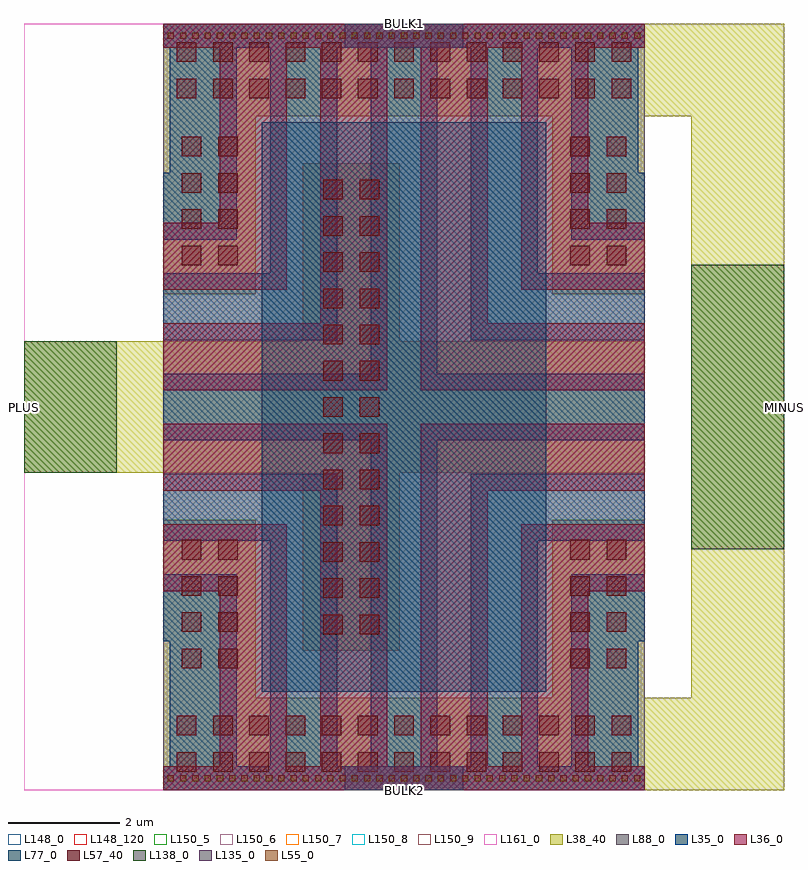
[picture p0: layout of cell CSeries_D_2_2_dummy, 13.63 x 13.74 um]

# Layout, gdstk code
import gdstk
lib = gdstk.Library(unit=1e-6, precision=1e-09)
def R(c, l, rs):  # rectangles x0, y0, x1, y1
    for r in rs: c.add(gdstk.rectangle(r[:2], r[2:], *l))
def A(c, l, x, y, w, h, nx, ny, dx, dy):  # array of equal rectangles
    R(c, l, [(x+i*dx, y+j*dy, x+i*dx+w, y+j*dy+h) for i in range(nx) for j in range(ny)])
def P(c, l, *ps):  # polygons
    for p in ps: c.add(gdstk.Polygon(p, *l))
L35_0 = (35, 0)
L36_0 = (36, 0)
L38_40 = (38, 40)
L55_0 = (55, 0)
L57_40 = (57, 40)
L77_0 = (77, 0)
L88_0 = (88, 0)
L135_0 = (135, 0)
L138_0 = (138, 0)
L148_0 = (148, 0)
L148_120 = (148, 120)
L150_5 = (150, 5)
L150_6 = (150, 6)
L150_7 = (150, 7)
L150_8 = (150, 8)
L150_9 = (150, 9)
L161_0 = (161, 0)

cseries_d_2_2_dummy = lib.new_cell('CSeries_D_2_2_dummy')
R(cseries_d_2_2_dummy, L35_0, [(-1.76,-1.76,6.87,-1.33), (-1.645,-1.76,-0.445,1.51), (0.155,-1.76,1.355,3.31), (1.955,-1.76,3.155,11.98), (3.755,-1.76,4.955,3.31), (5.555,-1.76,6.755,1.51), (-1.76,0.91,-0.445,2.11), (5.555,0.91,6.87,2.11), (-1.76,2.71,1.355,3.91), (3.755,2.71,6.87,3.91), (-1.76,4.51,6.87,5.71), (-1.76,6.31,1.355,7.51), (3.755,6.31,6.87,7.51), (0.155,6.91,1.355,11.98), (3.755,6.91,4.955,11.98), (-1.76,8.11,-0.445,9.31), (5.555,8.11,6.87,9.31), (-1.645,8.71,-0.445,11.98), (5.555,8.71,6.755,11.98), (-1.76,11.55,6.87,11.98)])
R(cseries_d_2_2_dummy, L36_0, [(-1.76,-1.76,6.87,-1.33), (-0.745,-1.76,0.455,2.41), (1.055,-1.76,2.255,4.21), (2.855,-1.76,4.055,4.21), (4.655,-1.76,5.855,2.41), (-1.76,1.81,0.455,3.01), (4.655,1.81,6.87,3.01), (-1.76,3.61,2.255,4.81), (2.855,3.61,6.87,4.81), (-1.76,5.41,2.255,6.61), (2.855,5.41,6.87,6.61), (1.055,6.01,2.255,11.98), (2.855,6.01,4.055,11.98), (-1.76,7.21,0.455,8.41), (4.655,7.21,6.87,8.41), (-0.745,7.81,0.455,11.98), (4.655,7.81,5.855,11.98), (-1.76,11.55,6.87,11.98)])
R(cseries_d_2_2_dummy, L38_40, [(6.87,-1.76,9.37,-0.1), (7.71,-1.76,9.37,11.98), (0.74,0.74,2.48,3.93), (-4.26,3.93,6.87,6.29), (0.74,6.29,2.48,9.48), (0.74,6.29,2.48,9.48), (6.87,10.32,9.37,11.98)])
P(cseries_d_2_2_dummy, L38_40, [(-0.1,10.32),(5.21,10.32),(5.21,7.13),(6.87,7.13),(6.87,11.98),(-1.76,11.98),(-1.76,7.13),(-0.1,7.13)],
  [(-1.76,3.09),(-1.76,-1.76),(6.87,-1.76),(6.87,3.09),(5.21,3.09),(5.21,-0.1),(-0.1,-0.1),(-0.1,3.09)])
A(cseries_d_2_2_dummy, L55_0, -1.68, -1.6, 0.11, 0.11, 39, 2, 0.22, 13.31)
A(cseries_d_2_2_dummy, L57_40, -1.52, -1.43, 0.35, 0.35, 13, 2, 0.65, 0.65)
A(cseries_d_2_2_dummy, L57_40, -1.43, 0.425, 0.35, 0.35, 1, 4, 0, 0.65)
A(cseries_d_2_2_dummy, L57_40, -0.78, 0.425, 0.35, 0.35, 1, 4, 0, 0.65)
A(cseries_d_2_2_dummy, L57_40, 5.54, 0.425, 0.35, 0.35, 1, 4, 0, 0.65)
A(cseries_d_2_2_dummy, L57_40, 6.19, 0.425, 0.35, 0.35, 1, 4, 0, 0.65)
A(cseries_d_2_2_dummy, L57_40, 1.11, 1.035, 0.35, 0.35, 1, 13, 0, 0.65)
A(cseries_d_2_2_dummy, L57_40, 1.76, 1.035, 0.35, 0.35, 1, 13, 0, 0.65)
A(cseries_d_2_2_dummy, L57_40, -1.43, 7.655, 0.35, 0.35, 1, 4, 0, 0.65)
A(cseries_d_2_2_dummy, L57_40, -0.78, 7.655, 0.35, 0.35, 1, 4, 0, 0.65)
A(cseries_d_2_2_dummy, L57_40, 5.54, 7.655, 0.35, 0.35, 1, 4, 0, 0.65)
A(cseries_d_2_2_dummy, L57_40, 6.19, 7.655, 0.35, 0.35, 1, 4, 0, 0.65)
A(cseries_d_2_2_dummy, L57_40, -1.52, 10.65, 0.35, 0.35, 13, 2, 0.65, 0.65)
R(cseries_d_2_2_dummy, L77_0, [(0,0,5.11,10.22)])
R(cseries_d_2_2_dummy, L88_0, [(-1.76,-1.76,6.87,11.98)])
R(cseries_d_2_2_dummy, L135_0, [(1.488,-1.76,3.622,-1.33), (1.488,11.55,3.622,11.98)])
R(cseries_d_2_2_dummy, L138_0, [(7.71,2.555,9.37,7.665), (-4.26,3.93,-2.6,6.29)])
R(cseries_d_2_2_dummy, L148_0, [(-4.26,-1.76,9.37,11.98)])
R(cseries_d_2_2_dummy, L148_120, [(-4.26,-1.76,9.37,11.98)])
R(cseries_d_2_2_dummy, L150_5, [(-4.26,-1.76,9.37,11.98)])
R(cseries_d_2_2_dummy, L150_6, [(-4.26,-1.76,9.37,11.98)])
R(cseries_d_2_2_dummy, L150_7, [(-4.26,-1.76,9.37,11.98)])
R(cseries_d_2_2_dummy, L150_8, [(-4.26,-1.76,9.37,11.98)])
R(cseries_d_2_2_dummy, L150_9, [(-4.26,-1.76,9.37,11.98)])
R(cseries_d_2_2_dummy, L161_0, [(-4.26,-1.76,9.37,11.98)])
cseries_d_2_2_dummy.add(gdstk.Label('BULK1', (2.555,11.98), layer=135, texttype=0))
cseries_d_2_2_dummy.add(gdstk.Label('BULK2', (2.555,-1.76), layer=135, texttype=0))
cseries_d_2_2_dummy.add(gdstk.Label('PLUS', (-4.26,5.11), layer=138, texttype=0))
cseries_d_2_2_dummy.add(gdstk.Label('MINUS', (9.37,5.11), layer=138, texttype=0))

lib.write_gds('CSeries_D_2_2_dummy.gds')
